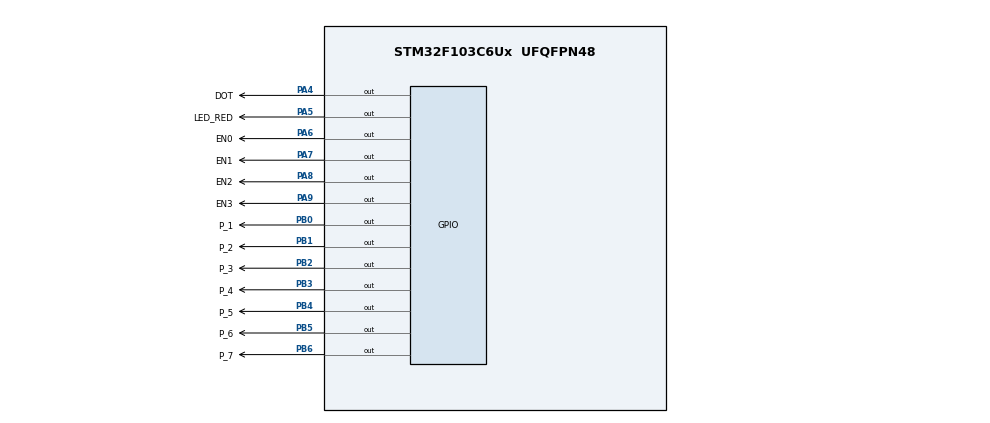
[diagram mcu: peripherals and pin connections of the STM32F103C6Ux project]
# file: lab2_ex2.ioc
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Mcu.Family=STM32F1
Mcu.Name=STM32F103C6Ux
Mcu.Package=UFQFPN48
NVIC.PriorityGroup=NVIC_PRIORITYGROUP_4
NVIC.TIM2_IRQn=true\:0\:0\:false\:false\:true\:true\:true\:true
PA4.GPIO_Label=DOT
PA4.Signal=GPIO_Output
PA5.GPIO_Label=LED_RED
PA5.Signal=GPIO_Output
PA6.GPIO_Label=EN0
PA6.Signal=GPIO_Output
PA7.GPIO_Label=EN1
PA7.Signal=GPIO_Output
PA8.GPIO_Label=EN2
PA8.Signal=GPIO_Output
PA9.GPIO_Label=EN3
PA9.Signal=GPIO_Output
PB0.GPIO_Label=P_1
PB0.Signal=GPIO_Output
PB1.GPIO_Label=P_2
PB1.Signal=GPIO_Output
PB2.GPIO_Label=P_3
PB2.Signal=GPIO_Output
PB3.GPIO_Label=P_4
PB3.Signal=GPIO_Output
PB4.GPIO_Label=P_5
PB4.Signal=GPIO_Output
PB5.GPIO_Label=P_6
PB5.Signal=GPIO_Output
PB6.GPIO_Label=P_7
PB6.Signal=GPIO_Output
ProjectManager.HeapSize=0x200
ProjectManager.StackSize=0x400
ProjectManager.TargetToolchain=STM32CubeIDE
RCC.APB1Freq_Value=8000000
RCC.APB2Freq_Value=8000000
TIM2.Period=9
TIM2.Prescaler=7999
VP_TIM2_VS_ClockSourceINT.Mode=Internal
board=custom

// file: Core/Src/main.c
/* USER CODE BEGIN Header */
/**
  ******************************************************************************
  * @file           : main.c
  * @brief          : Main program body
  ******************************************************************************
  * @attention
  *
  * Copyright (c) 2022 STMicroelectronics.
  * All rights reserved.
  *
  * This software is licensed under terms that can be found in the LICENSE file
  * in the root directory of this software component.
  * If no LICENSE file comes with this software, it is provided AS-IS.
  *
  ******************************************************************************
  */
/* USER CODE END Header */
#include "main.h"
#include "timer.h"

TIM_HandleTypeDef htim2;

void SystemClock_Config(void);
static void MX_GPIO_Init(void);
static void MX_TIM2_Init(void);

/* USER CODE BEGIN 0 */
void display7SEG(int timer)
{
	if(timer==0)
	{
		HAL_GPIO_WritePin(P_1_GPIO_Port, P_1_Pin, RESET);
		HAL_GPIO_WritePin(P_2_GPIO_Port, P_2_Pin, RESET);
		HAL_GPIO_WritePin(P_3_GPIO_Port, P_3_Pin, RESET);
		HAL_GPIO_WritePin(P_4_GPIO_Port, P_4_Pin, RESET);
		HAL_GPIO_WritePin(P_5_GPIO_Port, P_5_Pin, RESET);
		HAL_GPIO_WritePin(P_6_GPIO_Port, P_6_Pin, RESET);
		HAL_GPIO_WritePin(P_7_GPIO_Port, P_7_Pin, SET);
	}
	if(timer==1)
		{
			HAL_GPIO_WritePin(P_1_GPIO_Port, P_1_Pin, SET);
			HAL_GPIO_WritePin(P_2_GPIO_Port, P_2_Pin, RESET);
			HAL_GPIO_WritePin(P_3_GPIO_Port, P_3_Pin, RESET);
			HAL_GPIO_WritePin(P_4_GPIO_Port, P_4_Pin, SET);
			HAL_GPIO_WritePin(P_5_GPIO_Port, P_5_Pin, SET);
			HAL_GPIO_WritePin(P_6_GPIO_Port, P_6_Pin, SET);
			HAL_GPIO_WritePin(P_7_GPIO_Port, P_7_Pin, SET);
		}
	if(timer==2)
		{
			HAL_GPIO_WritePin(P_1_GPIO_Port, P_1_Pin, RESET);
			HAL_GPIO_WritePin(P_2_GPIO_Port, P_2_Pin, RESET);
			HAL_GPIO_WritePin(P_3_GPIO_Port, P_3_Pin, SET);
			HAL_GPIO_WritePin(P_4_GPIO_Port, P_4_Pin, RESET);
			HAL_GPIO_WritePin(P_5_GPIO_Port, P_5_Pin, RESET);
			HAL_GPIO_WritePin(P_6_GPIO_Port, P_6_Pin, SET);
			HAL_GPIO_WritePin(P_7_GPIO_Port, P_7_Pin, RESET);
		}
	if(timer==3)
		{
			HAL_GPIO_WritePin(P_1_GPIO_Port, P_1_Pin, RESET);
			HAL_GPIO_WritePin(P_2_GPIO_Port, P_2_Pin, RESET);
			HAL_GPIO_WritePin(P_3_GPIO_Port, P_3_Pin, RESET);
			HAL_GPIO_WritePin(P_4_GPIO_Port, P_4_Pin, RESET);
			HAL_GPIO_WritePin(P_5_GPIO_Port, P_5_Pin, SET);
			HAL_GPIO_WritePin(P_6_GPIO_Port, P_6_Pin, SET);
			HAL_GPIO_WritePin(P_7_GPIO_Port, P_7_Pin, RESET);
		}
	if(timer==4)
		{
			HAL_GPIO_WritePin(P_1_GPIO_Port, P_1_Pin, SET);
			HAL_GPIO_WritePin(P_2_GPIO_Port, P_2_Pin, RESET);
			HAL_GPIO_WritePin(P_3_GPIO_Port, P_3_Pin, RESET);
			HAL_GPIO_WritePin(P_4_GPIO_Port, P_4_Pin, SET);
			HAL_GPIO_WritePin(P_5_GPIO_Port, P_5_Pin, SET);
			HAL_GPIO_WritePin(P_6_GPIO_Port, P_6_Pin, RESET);
			HAL_GPIO_WritePin(P_7_GPIO_Port, P_7_Pin, RESET);
		}
	if(timer==5)
		{
			HAL_GPIO_WritePin(P_1_GPIO_Port, P_1_Pin, RESET);
			HAL_GPIO_WritePin(P_2_GPIO_Port, P_2_Pin, SET);
			HAL_GPIO_WritePin(P_3_GPIO_Port, P_3_Pin, RESET);
			HAL_GPIO_WritePin(P_4_GPIO_Port, P_4_Pin, RESET);
			HAL_GPIO_WritePin(P_5_GPIO_Port, P_5_Pin, SET);
			HAL_GPIO_WritePin(P_6_GPIO_Port, P_6_Pin, RESET);
			HAL_GPIO_WritePin(P_7_GPIO_Port, P_7_Pin, RESET);
		}
	if(timer==6)
		{
			HAL_GPIO_WritePin(P_1_GPIO_Port, P_1_Pin, RESET);
			HAL_GPIO_WritePin(P_2_GPIO_Port, P_2_Pin, SET);
			HAL_GPIO_WritePin(P_3_GPIO_Port, P_3_Pin, RESET);
			HAL_GPIO_WritePin(P_4_GPIO_Port, P_4_Pin, RESET);
			HAL_GPIO_WritePin(P_5_GPIO_Port, P_5_Pin, RESET);
			HAL_GPIO_WritePin(P_6_GPIO_Port, P_6_Pin, RESET);
			HAL_GPIO_WritePin(P_7_GPIO_Port, P_7_Pin, RESET);
		}
	if(timer==7)
		{
			HAL_GPIO_WritePin(P_1_GPIO_Port, P_1_Pin, RESET);
			HAL_GPIO_WritePin(P_2_GPIO_Port, P_2_Pin, RESET);
			HAL_GPIO_WritePin(P_3_GPIO_Port, P_3_Pin, RESET);
			HAL_GPIO_WritePin(P_4_GPIO_Port, P_4_Pin, SET);
			HAL_GPIO_WritePin(P_5_GPIO_Port, P_5_Pin, SET);
			HAL_GPIO_WritePin(P_6_GPIO_Port, P_6_Pin, SET);
			HAL_GPIO_WritePin(P_7_GPIO_Port, P_7_Pin, SET);
		}
	if(timer==8)
		{
			HAL_GPIO_WritePin(P_1_GPIO_Port, P_1_Pin, RESET);
			HAL_GPIO_WritePin(P_2_GPIO_Port, P_2_Pin, RESET);
			HAL_GPIO_WritePin(P_3_GPIO_Port, P_3_Pin, RESET);
			HAL_GPIO_WritePin(P_4_GPIO_Port, P_4_Pin, RESET);
			HAL_GPIO_WritePin(P_5_GPIO_Port, P_5_Pin, RESET);
			HAL_GPIO_WritePin(P_6_GPIO_Port, P_6_Pin, RESET);
			HAL_GPIO_WritePin(P_7_GPIO_Port, P_7_Pin, RESET);
		}
	if(timer==9)
		{
			HAL_GPIO_WritePin(P_1_GPIO_Port, P_1_Pin, RESET);
			HAL_GPIO_WritePin(P_2_GPIO_Port, P_2_Pin, RESET);
			HAL_GPIO_WritePin(P_3_GPIO_Port, P_3_Pin, RESET);
			HAL_GPIO_WritePin(P_4_GPIO_Port, P_4_Pin, RESET);
			HAL_GPIO_WritePin(P_5_GPIO_Port, P_5_Pin, SET);
			HAL_GPIO_WritePin(P_6_GPIO_Port, P_6_Pin, RESET);
			HAL_GPIO_WritePin(P_7_GPIO_Port, P_7_Pin, RESET);
		}
}
/* USER CODE END 0 */

int main(void)
{

  /* MCU Configuration--------------------------------------------------------*/

  /* Reset of all peripherals, Initializes the Flash interface and the Systick. */
  HAL_Init();

  /* Configure the system clock */
  SystemClock_Config();

  /* Initialize all configured peripherals */
  MX_GPIO_Init();
  MX_TIM2_Init();
  /* USER CODE BEGIN 2 */
  HAL_TIM_Base_Start_IT (& htim2 ) ;

  /* USER CODE END 2 */

  /* Infinite loop */
  /* USER CODE BEGIN WHILE */
  setTimer1(100);
  HAL_GPIO_WritePin(EN0_GPIO_Port, EN0_Pin, RESET);
  HAL_GPIO_WritePin(EN1_GPIO_Port, EN1_Pin, SET);
  HAL_GPIO_WritePin(EN2_GPIO_Port, EN2_Pin, SET);
  HAL_GPIO_WritePin(EN3_GPIO_Port, EN3_Pin, SET);
  HAL_GPIO_WritePin(DOT_GPIO_Port, DOT_Pin, RESET);
  while (1)
  {
	  if(timer1_flag==1)
	  	  {
	  		  setTimer1(100);
	  		  HAL_GPIO_TogglePin(LED_RED_GPIO_Port, LED_RED_Pin);
	  	  }
    /* USER CODE END WHILE */

  }
}

void SystemClock_Config(void)
{
  RCC_OscInitTypeDef RCC_OscInitStruct = {0};
  RCC_ClkInitTypeDef RCC_ClkInitStruct = {0};

  /** Initializes the RCC Oscillators according to the specified parameters
  * in the RCC_OscInitTypeDef structure.
  */
  RCC_OscInitStruct.OscillatorType = RCC_OSCILLATORTYPE_HSI;
  RCC_OscInitStruct.HSIState = RCC_HSI_ON;
  RCC_OscInitStruct.HSICalibrationValue = RCC_HSICALIBRATION_DEFAULT;
  RCC_OscInitStruct.PLL.PLLState = RCC_PLL_NONE;
  if (HAL_RCC_OscConfig(&RCC_OscInitStruct) != HAL_OK)
  {
    Error_Handler();
  }

  /** Initializes the CPU, AHB and APB buses clocks
  */
  RCC_ClkInitStruct.ClockType = RCC_CLOCKTYPE_HCLK|RCC_CLOCKTYPE_SYSCLK
                              |RCC_CLOCKTYPE_PCLK1|RCC_CLOCKTYPE_PCLK2;
  RCC_ClkInitStruct.SYSCLKSource = RCC_SYSCLKSOURCE_HSI;
  RCC_ClkInitStruct.AHBCLKDivider = RCC_SYSCLK_DIV1;
  RCC_ClkInitStruct.APB1CLKDivider = RCC_HCLK_DIV1;
  RCC_ClkInitStruct.APB2CLKDivider = RCC_HCLK_DIV1;

  if (HAL_RCC_ClockConfig(&RCC_ClkInitStruct, FLASH_LATENCY_0) != HAL_OK)
  {
    Error_Handler();
  }
}

static void MX_TIM2_Init(void)
{

  TIM_ClockConfigTypeDef sClockSourceConfig = {0};
  TIM_MasterConfigTypeDef sMasterConfig = {0};

  htim2.Instance = TIM2;
  htim2.Init.Prescaler = 7999;
  htim2.Init.CounterMode = TIM_COUNTERMODE_UP;
  htim2.Init.Period = 9;
  htim2.Init.ClockDivision = TIM_CLOCKDIVISION_DIV1;
  htim2.Init.AutoReloadPreload = TIM_AUTORELOAD_PRELOAD_DISABLE;
  if (HAL_TIM_Base_Init(&htim2) != HAL_OK)
  {
    Error_Handler();
  }
  sClockSourceConfig.ClockSource = TIM_CLOCKSOURCE_INTERNAL;
  if (HAL_TIM_ConfigClockSource(&htim2, &sClockSourceConfig) != HAL_OK)
  {
    Error_Handler();
  }
  sMasterConfig.MasterOutputTrigger = TIM_TRGO_RESET;
  sMasterConfig.MasterSlaveMode = TIM_MASTERSLAVEMODE_DISABLE;
  if (HAL_TIMEx_MasterConfigSynchronization(&htim2, &sMasterConfig) != HAL_OK)
  {
    Error_Handler();
  }

}

static void MX_GPIO_Init(void)
{
  GPIO_InitTypeDef GPIO_InitStruct = {0};

  /* GPIO Ports Clock Enable */
  __HAL_RCC_GPIOA_CLK_ENABLE();
  __HAL_RCC_GPIOB_CLK_ENABLE();

  /*Configure GPIO pin Output Level */
  HAL_GPIO_WritePin(GPIOA, DOT_Pin|LED_RED_Pin|EN0_Pin|EN1_Pin
                          |EN2_Pin|EN3_Pin, GPIO_PIN_RESET);

  /*Configure GPIO pin Output Level */
  HAL_GPIO_WritePin(GPIOB, P_1_Pin|P_2_Pin|P_3_Pin|P_4_Pin
                          |P_5_Pin|P_6_Pin|P_7_Pin, GPIO_PIN_RESET);

  /*Configure GPIO pins : DOT_Pin LED_RED_Pin EN0_Pin EN1_Pin
                           EN2_Pin EN3_Pin */
  GPIO_InitStruct.Pin = DOT_Pin|LED_RED_Pin|EN0_Pin|EN1_Pin
                          |EN2_Pin|EN3_Pin;
  GPIO_InitStruct.Mode = GPIO_MODE_OUTPUT_PP;
  GPIO_InitStruct.Pull = GPIO_NOPULL;
  GPIO_InitStruct.Speed = GPIO_SPEED_FREQ_LOW;
  HAL_GPIO_Init(GPIOA, &GPIO_InitStruct);

  /*Configure GPIO pins : P_1_Pin P_2_Pin P_3_Pin P_4_Pin
                           P_5_Pin P_6_Pin P_7_Pin */
  GPIO_InitStruct.Pin = P_1_Pin|P_2_Pin|P_3_Pin|P_4_Pin
                          |P_5_Pin|P_6_Pin|P_7_Pin;
  GPIO_InitStruct.Mode = GPIO_MODE_OUTPUT_PP;
  GPIO_InitStruct.Pull = GPIO_NOPULL;
  GPIO_InitStruct.Speed = GPIO_SPEED_FREQ_LOW;
  HAL_GPIO_Init(GPIOB, &GPIO_InitStruct);

}

/* USER CODE BEGIN 4 */
int counter = 50;
int status=1;

//
void HAL_TIM_PeriodElapsedCallback ( TIM_HandleTypeDef * htim )
{
	if(counter>0)
	{
		counter--;
		if(counter<=0)
		{
			switch(status)
			{
			case 1:
				HAL_GPIO_WritePin(EN0_GPIO_Port, EN0_Pin, SET);
				HAL_GPIO_WritePin(EN1_GPIO_Port, EN1_Pin, RESET);
				HAL_GPIO_WritePin(EN2_GPIO_Port, EN2_Pin, SET);
				HAL_GPIO_WritePin(EN3_GPIO_Port, EN3_Pin, SET);
				status=2;
				break;
			case 2:
				HAL_GPIO_WritePin(EN0_GPIO_Port, EN0_Pin, SET);
				HAL_GPIO_WritePin(EN1_GPIO_Port, EN1_Pin, SET);
				HAL_GPIO_WritePin(EN2_GPIO_Port, EN2_Pin, RESET);
				HAL_GPIO_WritePin(EN3_GPIO_Port, EN3_Pin, SET);
				status=3;
				break;
			case 3:
				HAL_GPIO_WritePin(EN0_GPIO_Port, EN0_Pin, SET);
				HAL_GPIO_WritePin(EN1_GPIO_Port, EN1_Pin, SET);
				HAL_GPIO_WritePin(EN2_GPIO_Port, EN2_Pin, SET);
				HAL_GPIO_WritePin(EN3_GPIO_Port, EN3_Pin, RESET);
				status=4;
				break;
			case 4:
				HAL_GPIO_WritePin(EN0_GPIO_Port, EN0_Pin, RESET);
				HAL_GPIO_WritePin(EN1_GPIO_Port, EN1_Pin, SET);
				HAL_GPIO_WritePin(EN2_GPIO_Port, EN2_Pin, SET);
				HAL_GPIO_WritePin(EN3_GPIO_Port, EN3_Pin, SET);
				status=1;
				break;
			}
			HAL_GPIO_TogglePin(DOT_GPIO_Port, DOT_Pin);
			counter=50;
		}
	}
	display7SEG(status);
	timerRun();
}
/* USER CODE END 4 */

void Error_Handler(void)
{
  __disable_irq();
  while (1)
  {
  }
}
